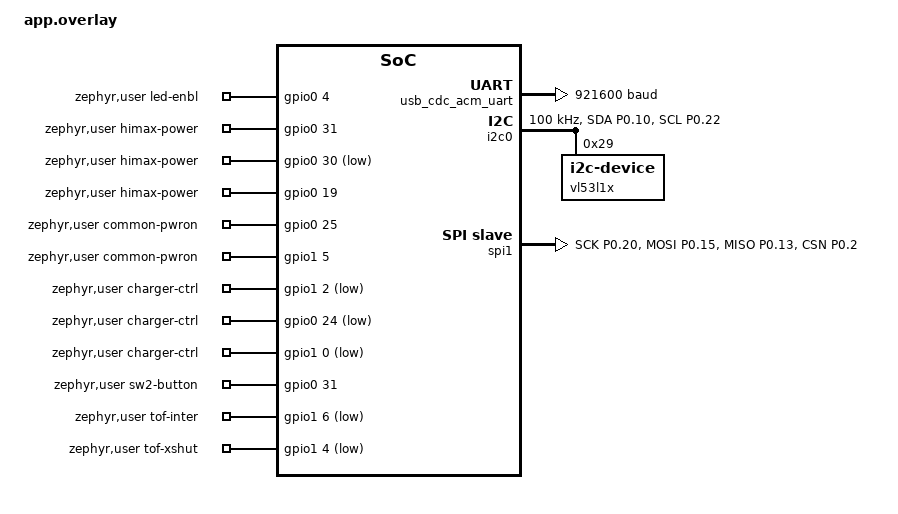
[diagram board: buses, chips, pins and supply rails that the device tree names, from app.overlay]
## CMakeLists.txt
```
cmake_minimum_required(VERSION 3.20.0)

add_definitions(-DNRF_SDK_BUILD)

list(APPEND BOARD_ROOT ${CMAKE_CURRENT_SOURCE_DIR})

set(CONF_FILE prj.conf)
set(DTC_OVERLAY_FILE app.overlay)

find_package(Zephyr REQUIRED HINTS $ENV{ZEPHYR_BASE})
project(gatebox)

list(APPEND mcuboot_CONF_FILE
  ${CMAKE_CURRENT_LIST_DIR}/child_image/mcuboot.conf
  ${ZEPHYR_BASE}/../bootloader/mcuboot/boot/zephyr/prj.conf            
)

list(APPEND mcuboot_DTC_OVERLAY_FILE
  ${CMAKE_CURRENT_LIST_DIR}/child_image/mcuboot.overlay
  ${ZEPHYR_BASE}/../bootloader/mcuboot/boot/zephyr/app.overlay          
)

target_include_directories(app PRIVATE
  src/
  src/obj_lists/
  src/cmd_dec/
  src/hm_ctrl
  src/pm_ctrl
  src/tof_sens
)

target_sources(app PRIVATE
  src/obj_lists/objects_validator.c
  src/obj_lists/list_expected_objects.c
  src/obj_lists/list_recognized_objects.c
  src/obj_lists/time_conv.c
  src/obj_lists/crc_proc.c
  src/cmd_dec/common_cmd.c
  src/cmd_dec/himax_cmd.c
  src/cmd_dec/list_expct_obj_cmd.c
  src/cmd_dec/list_recg_obj_cmd.c
  src/cmd_dec/date_time_cmd.c
  src/cmd_dec/tof_sensor_cmd.c
  src/cmd_dec/image_read_cmd.c
  src/cmd_dec/read_stat_cmd.c
  src/cmd_dec/batt_chrg_cmd.c
  src/cmd_dec/command_decoder.c
  src/hm_ctrl/himax_control.c
  src/hm_ctrl/himax_spi.c
  src/hm_ctrl/himax_spi_data_proc.c
  src/pm_ctrl/pwr_ctrl.c
  src/pm_ctrl/sys_reset.c
  src/tof_sens/tof_sensor_core.c
  src/tof_sens/tof_sensor_results.c
  src/amode_proc.c
  src/detect_handler.c
  src/bt_proc.c
  src/leds_ctrl.c
  src/image_proc.c
  src/acm_uart.c
  src/error_handler.c
  src/version.c
  src/button.c
  src/objdet_main.c
)

zephyr_library_include_directories(.)

set(VL53L1CB_PLAT_DIR ./drivers/VL53L1CB/platform)
set(VL53L1CB_CORE_DIR ./drivers/VL53L1CB/core)

target_include_directories(app PRIVATE 
  ${VL53L1CB_PLAT_DIR}/inc
  ${VL53L1CB_CORE_DIR}/inc
)

target_sources(app PRIVATE
  ${VL53L1CB_PLAT_DIR}/src/vl53l1_platform.c
  ${VL53L1CB_PLAT_DIR}/src/vl53l1_platform_ipp.c
  ${VL53L1CB_CORE_DIR}/src/vl53l1_api.c
  ${VL53L1CB_CORE_DIR}/src/vl53l1_api_calibration.c
  ${VL53L1CB_CORE_DIR}/src/vl53l1_api_core.c
  ${VL53L1CB_CORE_DIR}/src/vl53l1_api_debug.c
  ${VL53L1CB_CORE_DIR}/src/vl53l1_api_preset_modes.c
  ${VL53L1CB_CORE_DIR}/src/vl53l1_api_strings.c
  ${VL53L1CB_CORE_DIR}/src/vl53l1_core.c
  ${VL53L1CB_CORE_DIR}/src/vl53l1_core_support.c
  ${VL53L1CB_CORE_DIR}/src/vl53l1_dmax.c
  ${VL53L1CB_CORE_DIR}/src/vl53l1_error_strings.c
  ${VL53L1CB_CORE_DIR}/src/vl53l1_hist_algos_gen3.c
  ${VL53L1CB_CORE_DIR}/src/vl53l1_hist_algos_gen4.c
  ${VL53L1CB_CORE_DIR}/src/vl53l1_hist_char.c
  ${VL53L1CB_CORE_DIR}/src/vl53l1_hist_core.c
  ${VL53L1CB_CORE_DIR}/src/vl53l1_hist_funcs.c
  ${VL53L1CB_CORE_DIR}/src/vl53l1_nvm.c
  ${VL53L1CB_CORE_DIR}/src/vl53l1_nvm_debug.c
  ${VL53L1CB_CORE_DIR}/src/vl53l1_register_funcs.c
  ${VL53L1CB_CORE_DIR}/src/vl53l1_sigma_estimate.c
  ${VL53L1CB_CORE_DIR}/src/vl53l1_silicon_core.c
  ${VL53L1CB_CORE_DIR}/src/vl53l1_wait.c
  ${VL53L1CB_CORE_DIR}/src/vl53l1_xtalk.c
  ${VL53L1CB_CORE_DIR}/src/vl53l1_zone_presets.c
)
```

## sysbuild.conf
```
# SPDX-License-Identifier: Apache-2.0

# Add MCUboot
SB_CONFIG_BOOTLOADER_MCUBOOT=y
# Set MCUboot mode of operations to single application slot
SB_CONFIG_MCUBOOT_MODE_SINGLE_APP=y
```

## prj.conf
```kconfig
#
# SPDX-License-Identifier: Apache-2.0
#

CONFIG_UART_ASYNC_API=y
CONFIG_HEAP_MEM_POOL_SIZE=4096

CONFIG_BT=y
CONFIG_BT_PERIPHERAL=y
CONFIG_BT_DEVICE_NAME="GrcAllCam"
CONFIG_BT_MAX_CONN=1
CONFIG_BT_MAX_PAIRED=1

CONFIG_BT_NUS=y
CONFIG_BT_SETTINGS=y
CONFIG_FLASH=y
CONFIG_FLASH_PAGE_LAYOUT=y
CONFIG_FLASH_MAP=y
CONFIG_NVS=y
CONFIG_SETTINGS=y

CONFIG_MAIN_STACK_SIZE=1152
CONFIG_SYSTEM_WORKQUEUE_STACK_SIZE=2048

CONFIG_LOG=y
CONFIG_LOG_BUFFER_SIZE=2048
CONFIG_ASSERT=y

CONFIG_BT_USER_DATA_LEN_UPDATE=y
CONFIG_BT_L2CAP_TX_MTU=247
CONFIG_BT_BUF_ACL_TX_SIZE=251
CONFIG_BT_BUF_ACL_RX_SIZE=251
CONFIG_POSIX_CLOCK=y

CONFIG_DATE_TIME_NTP=n
CONFIG_DATE_TIME=y
CONFIG_SPI=y
CONFIG_SPI_SLAVE=y
CONFIG_SPI_ASYNC=y

CONFIG_EVENTS=y

CONFIG_USB_DEVICE_STACK=y

CONFIG_I2C=y
CONFIG_SENSOR=y
CONFIG_VL53L1X=n
CONFIG_LSM6DSL=n

CONFIG_POWEROFF=y
CONFIG_REBOOT=y
CONFIG_BT_SMP=y

CONFIG_LED_STRIP=y
CONFIG_BOOTLOADER_MCUBOOT=y
```

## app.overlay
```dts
/*
 * Copyright (c) 2025 Grovety Inc
 *
 * SPDX-License-Identifier: Apache-2.0
 */

&zephyr_udc0 {
	usb_cdc_acm_uart: cdc_acm_uart {
		compatible = "zephyr,cdc-acm-uart";
		current-speed = <921600>;
	};
};

&spi0 {
	status = "disabled";
};

&pinctrl {
	i2c_tof_default: i2c_tof_default {
		group1 {
			psels = <NRF_PSEL(TWIM_SDA, 0, 10)>, // P0.10
					<NRF_PSEL(TWIM_SCL, 0, 22)>; // P0.22
		};
	};
	i2c_tof_sleep: i2c_tof_sleep {
		group1 {
			psels = <NRF_PSEL(TWIM_SDA, 0, 10)>, // P0.10
					<NRF_PSEL(TWIM_SCL, 0, 22)>; // P0.22
			low-power-enable;
		};
	};
};

&i2c0 {
	compatible = "nordic,nrf-twim";
	status = "okay";
	clock-frequency = <I2C_BITRATE_STANDARD>;
	zephyr,concat-buf-size = <1024>;
	pinctrl-0 = <&i2c_tof_default>;
	pinctrl-1 = <&i2c_tof_sleep>;
	pinctrl-names = "default", "sleep";
	vl53l1x: vl53l1x@29 {
		compatible = "i2c-device";
		status = "okay";
		reg = <0x29>;
	};
};

&pinctrl {
	spi1_default: spi1_default {
		group1 {
			psels = <NRF_PSEL(SPIS_SCK, 0, 20)>,	// P0.20 - SPI_CLK(PB8)
					<NRF_PSEL(SPIS_MOSI, 0, 15)>,	// P0.15 - SPI_DO(PB7)
					<NRF_PSEL(SPIS_MISO, 0, 13)>,	// P0.13 - SPI_DI(PB6)
					<NRF_PSEL(SPIS_CSN, 0, 2)>;		// P0.02 - SEN_CSW0
		};
	};
	spi1_sleep: spi1_sleep {
		group1 {
			psels = <NRF_PSEL(SPIS_SCK, 0, 20)>,
					<NRF_PSEL(SPIS_MOSI, 0, 15)>,
					<NRF_PSEL(SPIS_MISO, 0, 13)>,
					<NRF_PSEL(SPIS_CSN, 0, 2)>;
			low-power-enable;
		};
	};
};

&spi1 {
	compatible = "nordic,nrf-spis";
	def-char = <0xFF>;
	status = "okay";
	pinctrl-0 = <&spi1_default>;
	pinctrl-1 = <&spi1_default>;
	pinctrl-names = "default", "sleep";
};

/ {
	zephyr,user {
		led-enbl-gpios = <&gpio0 4 GPIO_ACTIVE_HIGH>;			// P0.04 - rgb led enable
		himax-power-gpios = <&gpio0 31 GPIO_ACTIVE_HIGH>,		// Wakeup,PA1 Himax,open drain
					        <&gpio0 30 GPIO_ACTIVE_LOW>,		// nReset,no connected
		                    <&gpio0 19 GPIO_ACTIVE_HIGH>; 		// Power on, switch
		common-pwron-gpios = <&gpio0 25 GPIO_ACTIVE_HIGH>,		// U10,3v3,active high
							 <&gpio1 5 GPIO_ACTIVE_HIGH>;		// U12,1v8,active high
		charger-ctrl-gpios = <&gpio1 2 GPIO_ACTIVE_LOW>,		// P1.02 - BQCE,low level enable charger
							 <&gpio0 24 GPIO_ACTIVE_LOW>,		// P0.24 - BQCHG,low level when battery is charging
							 <&gpio1 0 GPIO_ACTIVE_LOW>;		// P1.0 - BQPGOOD,low level when input source is valid
		sw2-button-gpios = <&gpio0 31 GPIO_ACTIVE_HIGH>;		// P0.31 - SW2 button
		tof-inter-gpios = <&gpio1 6 GPIO_ACTIVE_LOW>;			// P1.06
		tof-xshut-gpios = <&gpio1 4 GPIO_ACTIVE_LOW>;			// P1.04
	};
};

/ {
	aliases {
		wake-up-pins-gpios = &gpio1;
	};
};

/ {
	chosen {
		zephyr,console = &uart1;
		nordic,shell = &usb_cdc_acm_uart;
		himax,spi = &spi1;
		tof,vl53l1x = &vl53l1x;
		led,strip = &led_strip;
	};
};
```

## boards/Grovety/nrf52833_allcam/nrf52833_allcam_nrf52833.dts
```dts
/*
 * Copyright (c) 2025 Grovety Inc
 *
 * SPDX-License-Identifier: Apache-2.0
 */

/dts-v1/;
#include <nordic/nrf52833_qiaa.dtsi>
#include <zephyr/dt-bindings/input/input-event-codes.h>

/ {
	model = "Grovety NRF52833 ALLCAM NRF52833";
	compatible = "nordic,nrf52833-dk-nrf52833";

	chosen {
		zephyr,sram = &sram0;
		zephyr,flash = &flash0_mcuboot;
		zephyr,code-partition = &slot0_partition;
	};
};

&reg1 {
	regulator-initial-mode = <NRF5X_REG_MODE_DCDC>;
};

&adc {
	status = "disabled";
};

&uicr {
	status = "disabled";
};

&gpiote {
	status = "okay";
};

&gpio0 {
	status = "okay";
};

&gpio1 {
	status = "okay";
};

&uart0 {
	status = "disabled";
};

&pinctrl {
	uart1_default: uart1_default {
		group1 {
			psels = <NRF_PSEL(UART_TX, 1, 1)>,
			        <NRF_PSEL(UART_RX, 0, 9)>;
		bias-pull-up;
	  };
	};
	uart1_sleep: uart1_sleep {
	  	group1 {
			psels = <NRF_PSEL(UART_TX, 1, 1)>,
			        <NRF_PSEL(UART_RX, 0, 9)>;
		low-power-enable;
	  	};
	};
};

&uart1 {
	status = "okay";
	current-speed = <115200>;
	pinctrl-0 = <&uart1_default>;
	pinctrl-1 = <&uart1_sleep>;
	pinctrl-names = "default", "sleep";
};

&i2c0 {
	compatible = "nordic,nrf-twi";
	status = "disabled";
};

&i2c1 {
	status = "disabled";
};

&pwm0 {
	status = "disabled";
};

&spi0 {
	status = "disabled";
};

&spi1 {
	status = "disabled";
};

&spi2 {
	status = "disabled";
};

/*flash0_default: &flash0 {
	partitions {
		compatible = "fixed-partitions";
		#address-cells = <1>;
		#size-cells = <1>;

		boot_partition: partition@0 {
			label = "mcuboot";
			reg = <0x00000000 0xC000>;
		};
		slot0_partition: partition@c000 {
			label = "image-0";
			reg = <0x0000C000 0x37000>;
		};
		slot1_partition: partition@43000 {
			label = "image-1";
			reg = <0x00043000 0x37000>;
		};
		storage_partition: partition@7a000 {
			label = "storage";
			reg = <0x0007A000 0x00006000>;
		};
	};
};*/

flash0_mcuboot: &flash0 {
	partitions {
		compatible = "fixed-partitions";
		#address-cells = <1>;
		#size-cells = <1>;

		boot_partition: partition@0 {
			label = "mcuboot";
			reg = <0x00000000 0x10000>;
		};
		slot0_partition: partition@10000 {
			label = "image-0";
			reg = <0x00010000 0x6A000>;
		};
		storage_partition: partition@7a000 {
			label = "storage";
			reg = <0x0007A000 0x00006000>;
		};
	};
};

zephyr_udc0: &usbd {
	compatible = "nordic,nrf-usbd";
	status = "okay";
};

&pinctrl {
	spi2_default: spi2_default {
		group1 {
			psels = <NRF_PSEL(SPIM_SCK, 0, 23)>, 		// dummy
					<NRF_PSEL(SPIM_MOSI, 0, 29)>, 		// stripe
					<NRF_PSEL(SPIM_MISO, 0, 28)>; 		// dummy

		};
	};
	spi2_sleep: spi2_sleep {
		group1 {
			psels = <NRF_PSEL(SPIM_SCK, 0, 23)>,
					<NRF_PSEL(SPIM_MOSI, 0, 29)>,
					<NRF_PSEL(SPIM_MISO, 0, 28)>;
			low-power-enable;
		};
	};
};

#include <zephyr/dt-bindings/led/led.h>

#define SPI_FREQ    4000000
#define ONE_FRAME   0x70
#define ZERO_FRAME  0x40

&spi2 {
	compatible = "nordic,nrf-spim";
	status = "okay";
	pinctrl-0 = <&spi2_default>;
	pinctrl-1 = <&spi2_sleep>;
	pinctrl-names = "default", "sleep";
	led_strip: ws2812@0 {
		compatible = "worldsemi,ws2812-spi";
		/* SPI */
		reg = <0>; /* ignored, but necessary for SPI bindings */
		spi-max-frequency = <SPI_FREQ>;
		/* WS2812 */
		chain-length = <1>; /* arbitrary; change at will */
		color-mapping = <LED_COLOR_ID_GREEN LED_COLOR_ID_RED LED_COLOR_ID_BLUE>;
		spi-one-frame = <ONE_FRAME>;
		spi-zero-frame = <ZERO_FRAME>;
	};
};
```

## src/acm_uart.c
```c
/*
 * Copyright (c) 2025 Grovety Inc
 *
 * SPDX-License-Identifier: Apache-2.0
 */

#include <zephyr/types.h>
#include <zephyr/kernel.h>
#include <zephyr/init.h>
#include <zephyr/logging/log.h>
#include <zephyr/drivers/uart.h>
#include <zephyr/usb/usb_device.h>

#include "acm_uart.h"
#include "lists_common_defs.h"

#define LOG_MODULE_NAME acm_uart
LOG_MODULE_REGISTER(LOG_MODULE_NAME);

#define ACM_UART_THREAD_STACKSIZE 1024
#define ACM_UART_THREAD_PRIORITY 4

static uart_data_proc_t uart_data_proc;

static void uart_data_handler_thread_proc();

static K_THREAD_DEFINE( uart_data_handler_thread_id, ACM_UART_THREAD_STACKSIZE,  uart_data_handler_thread_proc, NULL, NULL, NULL,
	ACM_UART_THREAD_PRIORITY, 0, 0);
static K_EVENT_DEFINE(command_is_ready_event);

static const struct device *uart_device = DEVICE_DT_GET(DT_CHOSEN(nordic_shell));

static uart_ctx_t uart_ctx;

static void direct_uart_callback(const struct device *uart_device, void *user_data)
{
	uart_ctx_t* p_uart_ctx = (uart_ctx_t*)user_data;

	uart_irq_update(uart_device);

#ifndef TX_WITH_POLLING
	if (uart_irq_tx_ready(uart_device)) {
		uart_irq_tx_disable(uart_device);
	}
#endif

	if (uart_irq_rx_ready(uart_device)) {
		uint8_t rx_char = 0;
		while (uart_fifo_read(uart_device, &rx_char, 1)) {
#ifdef SR_AT_CMD_ECHO
			(void)uart_fifo_fill(uart_device, &rx_char, 1);
#endif
			if (rx_char == '\r') { // bluetooth has '\n' but putty send '\r' instead
				rx_char = '\n';
			}
			p_uart_ctx->rx_buf[p_uart_ctx->is_read] = rx_char;
			p_uart_ctx->is_read = (p_uart_ctx->is_read + 1) % SR_OUT_BUF_SIZE;
			if (rx_char == '\n') {
				k_event_set(&command_is_ready_event, 0x001);
				break;
			}
		}
	}
}

void  uart_data_handler_thread_proc()
{
	while (1)
	{
		if (k_event_wait(&command_is_ready_event, 1, true, K_FOREVER))
		{
			k_sleep(K_MSEC(20));
			uart_ctx.rx_buf[uart_ctx.is_read] = 0;
			// LOG_HEXDUMP_INF(uart_ctx.rx_buf, 8, "Rx:");
			uart_ctx.to_write = uart_data_proc(USBUART_INTERFACE, uart_ctx.rx_buf, uart_ctx.is_read, uart_ctx.tx_buf, SR_OUT_BUF_SIZE);
			// LOG_HEXDUMP_INF(uart_ctx.tx_buf, 8, "Tx:");
			uart_ctx.is_read = 0;
			if (uart_ctx.to_write > 0) {
#ifndef TX_WITH_POLLING
				uart_irq_tx_enable(uart_device);
				(void)uart_fifo_fill(uart_device, uart_ctx.tx_buf, uart_ctx.to_write);
#else // TX_WITH_POLLING
				for(unsigned i = 0; i < uart_ctx.to_write; i++) {
					uart_poll_out(uart_device, uart_ctx.tx_buf[i]);
				}
#endif
			}
		}
	}
}

int acm_uart_init(uart_data_proc_t proc)
{
	if (!device_is_ready(uart_device)) {
		return -1;
	}

	if (!proc) {
		return -2;
	}

	uart_data_proc = proc;

	uart_irq_rx_disable(uart_device);

	int err = uart_irq_callback_user_data_set(uart_device, direct_uart_callback, &uart_ctx);

	uart_irq_rx_enable(uart_device);

    return err;
}
```

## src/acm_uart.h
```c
/*
 * Copyright (c) 2025 Grovety Inc
 *
 * SPDX-License-Identifier: Apache-2.0
 */

#ifndef ACM_UART_H
#define ACM_UART_H

#include "bt_proc.h"
#include "command_decoder.h"

#define SR_OUT_BUF_SIZE BT_OUT_BUF_SIZE

// #define SR_AT_CMD_ECHO
// #define TX_WITH_POLLING

typedef struct {
    int is_read;
    uint8_t rx_buf[SR_OUT_BUF_SIZE];
    int to_write;
    uint8_t tx_buf[SR_OUT_BUF_SIZE];
    bool is_command;
} uart_ctx_t;

typedef int (*uart_data_proc_t)(int if_num, const char* inp_buf, int inp_len, char* out_buf, int out_buf_size);

int acm_uart_init(uart_data_proc_t uart_data_proc);

#endif // ACM_UART_H
```

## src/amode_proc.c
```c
/*
 * Copyright (c) 2025 Grovety Inc
 *
 * SPDX-License-Identifier: Apache-2.0
 */

#include "amode_proc.h"
#include "himax_control.h"
#include "tof_sensor_core.h"
#include "leds_ctrl.h"
#include "pwr_ctrl.h"
#include "detect_handler.h"
#include "error_handler.h"
#include "mutex_wrapper.h"

#define LOG_MODULE_NAME amode_proc
LOG_MODULE_REGISTER(LOG_MODULE_NAME);

static void amode_timer_handler(struct k_timer *dummy);
static void amode_timer_work_proc(struct k_work *work);

static K_TIMER_DEFINE(amode_timer, amode_timer_handler, NULL);
static K_WORK_DEFINE(amode_timer_work, amode_timer_work_proc);

#define AMODE_THREAD_STACKSIZE 1024
#define AMODE_THREAD_PRIORITY 7

static void amode_thread_proc();

static K_THREAD_DEFINE(amode_thread_id, AMODE_THREAD_STACKSIZE, amode_thread_proc, NULL, NULL, NULL, AMODE_THREAD_PRIORITY, 0, 0);
static K_EVENT_DEFINE(amode_process_run_event);
static K_EVENT_DEFINE(amode_process_end_event);

K_MUTEX_DEF(amode_setup_mutex)

int amode_proc_init()
{
	K_MUTEX_INIT(amode_setup_mutex)
	return 0;
}

bool img_busy;

void amode_setup_for_image_read(bool start_or_finish)
{
	K_MUTEX_LOCK(amode_setup_mutex)
	img_busy = start_or_finish;
    tof_sensor_set_auto_mode(TOF_MODE_MEAS_DISTANCE_TIMER);
    himax_set_mode(HIMAX_MODE_CONT_WORK, start_or_finish ? HIMAX_ADV_READ_IMAGE : HIMAX_ADV_STOP_RDIMG);
	K_MUTEX_UNLOCK(amode_setup_mutex)
}

static void amode_setup_for_recognition()
{
	K_MUTEX_LOCK(amode_setup_mutex)
	if (!img_busy) { // do recognition and read image at the same time - read operation has priority
		tof_sensor_set_auto_mode(TOF_MODE_DISABLED_WHILE_RECOGN);
		himax_set_mode(HIMAX_MODE_CONT_WORK, HIMAX_ADV_DO_NOTHING);
	}
	K_MUTEX_UNLOCK(amode_setup_mutex)
}

static void amode_setup_for_is_target_waiting()
{ // procedure is called only when timer expired,it is protected by mutex inside the upper function
	himax_set_mode(HIMAX_POFF_MODE, HIMAX_ADV_DO_NOTHING);
	tof_sensor_set_auto_mode(TOF_MODE_AUTO_WAIT_FOR_OBJECTS);
}

static unsigned asleep_cntr;

static void amode_setup_for_not_target_waiting()
{ // waiting for car will leave,once again image read operartion has priority
	K_MUTEX_LOCK(amode_setup_mutex)
	if (!img_busy) { //
		himax_set_mode(HIMAX_POFF_MODE, HIMAX_ADV_DO_NOTHING);
		if (tof_sensor_get_mode() == TOF_MODE_DISABLED_WHILE_RECOGN) {
			tof_sensor_set_auto_mode(TOF_MODE_WAIT_UNTIL_OBJ_LEAVES);
		}
	}
	K_MUTEX_UNLOCK(amode_setup_mutex)
}

void amode_timer_cmd_recv_notify()
{
	K_MUTEX_LOCK(amode_setup_mutex)
	asleep_cntr = AUTO_MODE_TIMER_ASLEEP_PERIOD_SEC;
	k_timer_start(&amode_timer, K_MSEC(1000), K_MSEC(1000));
	K_MUTEX_UNLOCK(amode_setup_mutex)
}

void amode_timer_wakeup_notify()
{ // the same actions
	amode_timer_cmd_recv_notify();
}

static void amode_timer_handler(struct k_timer *dummy)
{
	k_work_submit(&amode_timer_work);
}

static void amode_timer_work_proc(struct k_work *work)
{
	K_MUTEX_LOCK(amode_setup_mutex)
	if (asleep_cntr == 1) {
		// LOG_INF("!!!asleep_cntr %d", asleep_cntr);
		if (!img_busy) {
			amode_setup_for_is_target_waiting();
		}
		else {
			asleep_cntr = AUTO_MODE_TIMER_ASLEEP_PERIOD_SEC;
		}
	}
	if (asleep_cntr > 0) {
		
		asleep_cntr -= 1;
	}
	//> LOG_INF("asleep_cntr %d,pwroff_cntr %d", asleep_cntr, pwroff_cntr);
	if (asleep_cntr == 0) {
		k_timer_stop(&amode_timer);
	}
	K_MUTEX_UNLOCK(amode_setup_mutex)
}

void amode_do_recognize()
{
    k_event_set(&amode_process_run_event, 1);
}

static atomic_t recgn_dummy_iter = ATOMIC_INIT(AMODE_MAX_RCGN_DUMMY_ITER);
static atomic_t recgn_found_iter = ATOMIC_INIT(0);

void amode_recognize_results_update(bool found, bool permission)
{
    if (atomic_get(&recgn_dummy_iter) < AMODE_MAX_RCGN_DUMMY_ITER)
    {
        atomic_inc(&recgn_dummy_iter);

        if (permission) {
            atomic_set(&recgn_dummy_iter, AMODE_MAX_RCGN_DUMMY_ITER);
			k_event_set(&amode_process_end_event, 1);
            detect_handler();
        }
        else {
            if (found) {
                if (atomic_get(&recgn_found_iter) < AMODE_MAX_RCGN_FOUND_ITER) {
                    atomic_inc(&recgn_found_iter);
                }
                else {
                    atomic_set(&recgn_dummy_iter, AMODE_MAX_RCGN_DUMMY_ITER);
					k_event_set(&amode_process_end_event, 2);
                }
            }
        }
    }
	if (atomic_get(&recgn_dummy_iter) >= AMODE_MAX_RCGN_DUMMY_ITER) {
		k_event_set(&amode_process_end_event, 4);
	}
	//if (k_event_test(&amode_process_end_event, 7)) {
    //	LOG_INF("(%d,%d): %ld,%ld", found, permission, atomic_get(&recgn_dummy_iter), atomic_get(&recgn_found_iter));
	//}
}

static void gbox_rcgn_proc()
{
	atomic_set(&recgn_found_iter, 0);
	atomic_set(&recgn_dummy_iter, 0);
	amode_setup_for_recognition();

	if (k_event_wait(&amode_process_end_event, 7, true, K_MSEC(AMODE_RECGN_TOUT_MSEC)) == false) {
		error_stack_add(ERR_RECOGN_TOUT);
		LOG_ERR("Recognition timeout");
	}
	amode_setup_for_not_target_waiting();
}

static void amode_thread_proc()
{
    while (1)
    {
        uint32_t event = k_event_wait(&amode_process_run_event, 7, false, K_FOREVER);
		if (event & 1) { // recognition
			gbox_rcgn_proc();
			k_event_clear(&amode_process_run_event, 1);
		}
	}
}
```

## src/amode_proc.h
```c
/*
 * Copyright (c) 2025 Grovety Inc
 *
 * SPDX-License-Identifier: Apache-2.0
 */

#ifndef AMODE_PROC_H
#define AMODE_PROC_H

#include <zephyr/kernel.h>
#include <zephyr/init.h>
#include <zephyr/logging/log.h>
#include <nrfx_timer.h>

#define AMODE_MAX_RCGN_DUMMY_ITER 10
#define AMODE_MAX_RCGN_FOUND_ITER 3
#define AMODE_RECGN_TOUT_MSEC 5000

#define AUTO_MODE_NRF_SYS_PWR_OFF
#define AUTO_MODE_TIMER_ASLEEP_PERIOD_SEC 20
#define AUTO_MODE_TIMER_PWROFF_PERIOD_SEC 20

int amode_proc_init();

void amode_timer_cmd_recv_notify();

void amode_timer_wakeup_notify();

void amode_recognize_results_update(bool found, bool permission);

void amode_do_recognize();

void amode_setup_for_image_read(bool start_or_finish);

#endif // AMODE_PROC_H
```

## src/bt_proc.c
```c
/*
 * Copyright (c) 2025 Grovety Inc
 *
 * SPDX-License-Identifier: Apache-2.0
 */

#include "bt_proc.h"

#include <zephyr/types.h>
#include <zephyr/kernel.h>
#include <zephyr/drivers/uart.h>
#include <zephyr/usb/usb_device.h>

#include <zephyr/device.h>
#include <zephyr/devicetree.h>
#include <soc.h>

#include <zephyr/bluetooth/bluetooth.h>
#include <zephyr/bluetooth/uuid.h>
#include <zephyr/bluetooth/gatt.h>
#include <zephyr/bluetooth/hci.h>
#include <zephyr/settings/settings.h>
#include <zephyr/logging/log.h>
#include <bluetooth/services/nus.h>

#include "lists_common_defs.h"
#include "himax_control.h"

#define LOG_MODULE_NAME bt_proc
LOG_MODULE_REGISTER(LOG_MODULE_NAME);

#define DEVICE_NAME CONFIG_BT_DEVICE_NAME
#define DEVICE_NAME_LEN	(sizeof(DEVICE_NAME) - 1)

static struct bt_conn *current_conn;
static struct bt_conn *auth_conn;

struct k_mutex send_mutex;
static bt_data_proc_t bt_data_proc;

static const struct bt_data ad[] = {
	BT_DATA_BYTES(BT_DATA_FLAGS, (BT_LE_AD_GENERAL | BT_LE_AD_NO_BREDR)),
	BT_DATA(BT_DATA_NAME_COMPLETE, DEVICE_NAME, DEVICE_NAME_LEN),
};

static const struct bt_data sd[] = {
	BT_DATA_BYTES(BT_DATA_UUID128_ALL, BT_UUID_NUS_VAL),
};

static void connected(struct bt_conn *conn, uint8_t err)
{
	char addr[BT_ADDR_LE_STR_LEN];

	if (err) {
		LOG_ERR("Connection failed (err %u)", err);
		return;
	}

	bt_addr_le_to_str(bt_conn_get_dst(conn), addr, sizeof(addr));
	LOG_INF("Connected %s", addr);

	current_conn = bt_conn_ref(conn);
}

static void disconnected(struct bt_conn *conn, uint8_t reason)
{
	char addr[BT_ADDR_LE_STR_LEN];

	bt_addr_le_to_str(bt_conn_get_dst(conn), addr, sizeof(addr));

	LOG_INF("Disconnected: %s (reason %u)", addr, reason);

	if (auth_conn) {
		bt_conn_unref(auth_conn);
		auth_conn = NULL;
	}

	if (current_conn) {
		bt_conn_unref(current_conn);
		current_conn = NULL;
	}
}

static void security_changed(struct bt_conn *conn, bt_security_t level,
			     enum bt_security_err err)
{
	char addr[BT_ADDR_LE_STR_LEN];

	bt_addr_le_to_str(bt_conn_get_dst(conn), addr, sizeof(addr));

	if (!err) {
		LOG_INF("Security changed: %s level %u", addr, level);
	} else {
		LOG_WRN("Security failed: %s level %u err %d", addr,
			level, err);
	}
}

BT_CONN_CB_DEFINE(conn_callbacks) = {
	.connected    = connected,
	.disconnected = disconnected,
	.security_changed = security_changed,
};

static void auth_passkey_display(struct bt_conn *conn, unsigned int passkey)
{
	char addr[BT_ADDR_LE_STR_LEN];

	bt_addr_le_to_str(bt_conn_get_dst(conn), addr, sizeof(addr));

	LOG_INF("Passkey for %s: %06u", addr, passkey);
}

static void auth_passkey_confirm(struct bt_conn *conn, unsigned int passkey)
{
	char addr[BT_ADDR_LE_STR_LEN];

	auth_conn = bt_conn_ref(conn);

	bt_addr_le_to_str(bt_conn_get_dst(conn), addr, sizeof(addr));

	LOG_INF("Passkey for %s: %06u", addr, passkey);
	LOG_INF("Press Button 1 to confirm, Button 2 to reject.");
// just to say "okay"
	bt_conn_auth_passkey_confirm(auth_conn);
// or.perhaps, to refuse
//	bt_conn_auth_cancel(auth_conn);
}

static void auth_cancel(struct bt_conn *conn)
{
	char addr[BT_ADDR_LE_STR_LEN];

	bt_addr_le_to_str(bt_conn_get_dst(conn), addr, sizeof(addr));

	//// LOG_INF("Pairing cancelled: %s", addr);
}

static void pairing_complete(struct bt_conn *conn, bool bonded)
{
	char addr[BT_ADDR_LE_STR_LEN];

	bt_addr_le_to_str(bt_conn_get_dst(conn), addr, sizeof(addr));

	//// LOG_INF("Pairing completed: %s, bonded: %d", addr, bonded);
}

static void pairing_failed(struct bt_conn *conn, enum bt_security_err reason)
{
	char addr[BT_ADDR_LE_STR_LEN];

	bt_addr_le_to_str(bt_conn_get_dst(conn), addr, sizeof(addr));

	//// LOG_INF("Pairing failed conn: %s, reason %d", addr, reason);
}

static struct bt_conn_auth_cb conn_auth_callbacks = {
	.passkey_display = auth_passkey_display,
	.passkey_confirm = auth_passkey_confirm,
	.cancel = auth_cancel,
};

static struct bt_conn_auth_info_cb conn_auth_info_callbacks = {
	.pairing_complete = pairing_complete,
	.pairing_failed = pairing_failed
};

static int bt_send_prot(struct bt_conn *conn, const uint8_t *data, uint16_t len)
{
	k_mutex_lock(&send_mutex, K_FOREVER);
	int err = bt_nus_send(conn, data, len);
	k_mutex_unlock(&send_mutex);
	return err;
}

static void bt_receive_cb(struct bt_conn *conn, const uint8_t *const inp_data,
			  uint16_t inp_len)
{
	int err = 0;
	char addr[BT_ADDR_LE_STR_LEN] = {0};

	bt_addr_le_to_str(bt_conn_get_dst(conn), addr, ARRAY_SIZE(addr));

	//// LOG_INF("Maximal MTU length %d", bt_gatt_get_mtu(conn));

	static uint8_t out_data [BT_OUT_BUF_SIZE];
	// LOG_HEXDUMP_INF(inp_data, 8, "Rx:");
	int out_len = bt_data_proc(BLUETOOTH_INTERFACE, inp_data, inp_len, out_data, BT_OUT_BUF_SIZE);
	// LOG_HEXDUMP_INF(out_data, 8, "Tx:");
	if (out_len > 0) {
		err = bt_send_prot(conn, out_data, out_len);
	}

	if (err) {
		LOG_ERR("Cannot send data (err: %d)", err);
	}
}

void bt_sent_cb(struct bt_conn *conn)
{
	char addr[BT_ADDR_LE_STR_LEN] = {0};

	bt_addr_le_to_str(bt_conn_get_dst(conn), addr, ARRAY_SIZE(addr));

	//// LOG_INF("Transmitted data sent to: %s", addr);
}

static struct bt_nus_cb nus_cb = {
	.received = bt_receive_cb,
	.sent = bt_sent_cb
};

int bt_init(bt_data_proc_t proc)
{
    int err;

    bt_data_proc = proc;

    err = bt_conn_auth_cb_register(&conn_auth_callbacks);
	if (err) {
		printk("Failed to register authorization callbacks.\n");
		return err;
	}

	err = bt_conn_auth_info_cb_register(&conn_auth_info_callbacks);
	if (err) {
		printk("Failed to register authorization info callbacks.\n");
		return err;
	}

	err = bt_enable(NULL);
	if (err) {
		printk("Bluetooth enable failed.\n");
		return err;
	}

	LOG_INF("Bluetooth initialized");

	if (IS_ENABLED(CONFIG_SETTINGS)) {
		settings_load();
	}

	err = bt_nus_init(&nus_cb);
	if (err) {
		LOG_ERR("Failed to initialize UART service (err: %d)", err);
		return err;
	}

	err = bt_le_adv_start(BT_LE_ADV_CONN, ad, ARRAY_SIZE(ad), sd,
			      ARRAY_SIZE(sd));
	if (err) {
		LOG_ERR("Advertising failed to start (err %d)", err);
		return err;
	}

    return 0;
}
```

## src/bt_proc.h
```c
/*
 * Copyright (c) 2025 Grovety Inc
 *
 * SPDX-License-Identifier: Apache-2.0
 */

#ifndef BT_PROC_H
#define BT_PROC_H

#define BT_OUT_BUF_SIZE (247-3) // set to MTU size

typedef int (*bt_data_proc_t)(int if_num, const char* inp_buf, int inp_len, char* out_buf, int out_buf_size);

int bt_init(bt_data_proc_t proc);

#endif // BT_PROC_H
```

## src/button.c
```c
/*
 * Copyright (c) 2025 Grovety Inc
 *
 * SPDX-License-Identifier: Apache-2.0
 */

#include <zephyr/types.h>
#include <zephyr/kernel.h>
#include <zephyr/logging/log.h>
#include <zephyr/drivers/gpio.h>
#include <zephyr/sys/reboot.h>
#include <zephyr/device.h>
#include <zephyr/devicetree.h>
#include "button.h"
#include "himax_control.h"

#ifdef SW2_BUTTON_USED

LOG_MODULE_REGISTER(button);

#define SW2_BUTTON_CONTROL DT_PATH(zephyr_user)
static const struct gpio_dt_spec sw2_button_pin = GPIO_DT_SPEC_GET(SW2_BUTTON_CONTROL, sw2_button_gpios);
static const struct gpio_dt_spec himax_pwron_pin = GPIO_DT_SPEC_GET_BY_IDX(DT_PATH(zephyr_user), himax_power_gpios, 2);
static struct gpio_callback button_cb_data;

static button_event_handler_t ext_handler;

static void button_event_callback_handler(const struct device *port, struct gpio_callback *cb, gpio_port_pins_t pins)
{
    LOG_INF("button_event_callback_handler");
    if (ext_handler) {
        ext_handler();
    }
    else {
        gpio_pin_set_dt(&himax_pwron_pin, 1);
    }
}

int button_sw2_init(button_event_handler_t handler)
{
    if (!gpio_is_ready_dt(&sw2_button_pin)) {
        LOG_ERR("SW2 strip device is not ready");
		return -1;
	}

    ext_handler = handler;

    gpio_pin_configure_dt(&sw2_button_pin, GPIO_INPUT);
    gpio_pin_interrupt_configure_dt(&sw2_button_pin, GPIO_INT_EDGE_FALLING);
	gpio_init_callback(&button_cb_data, button_event_callback_handler, BIT(sw2_button_pin.pin));
	gpio_add_callback(sw2_button_pin.port, &button_cb_data);
    return 0;
}

#endif // SW2_BUTTON_USED
```

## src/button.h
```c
/*
 * Copyright (c) 2025 Grovety Inc
 *
 * SPDX-License-Identifier: Apache-2.0
 */

#ifndef BUTTON_H
#define BUTTON_H

#include "himax_control.h"

// #define SW2_BUTTON_USED

#ifdef SW2_BUTTON_USED
    #if HIMAX_INIT_MODE == HIMAX_MODE_POWER_DOWN || \
        HIMAX_POFF_MODE == HIMAX_MODE_POWER_DOWN || \
        HIMAX_INIT_MODE == HIMAX_MODE_DPOWER_DOWN || \
        HIMAX_POFF_MODE == HIMAX_MODE_DPOWER_DOWN
            #error The button wire is shared with Himax wake-up pin!
    #endif

typedef void (*button_event_handler_t)(void);

int button_sw2_init(button_event_handler_t handler);

#endif // SW2_BUTTON_USED

#endif // BUTTON_H
```

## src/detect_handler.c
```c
/*
 * Copyright (c) 2025 Grovety Inc
 *
 * SPDX-License-Identifier: Apache-2.0
 */

#include <zephyr/types.h>
#include <zephyr/kernel.h>
#include <zephyr/logging/log.h>
#include <zephyr/drivers/gpio.h>

#include "detect_handler.h"
#include "leds_ctrl.h"

#define LOG_MODULE_NAME detect_handler
LOG_MODULE_REGISTER(LOG_MODULE_NAME);

#define DETECT_HANDLER_THREAD_STACKSIZE 512
#define DETECT_HANDLER_THREAD_PRIORITY 7

static void detect_handler_thread_proc();

static K_THREAD_DEFINE(detect_handler_thread_id, DETECT_HANDLER_THREAD_STACKSIZE, detect_handler_thread_proc, NULL, NULL, NULL,
		DETECT_HANDLER_THREAD_PRIORITY, 0, 0);
static K_EVENT_DEFINE(detect_handler_start_event);

static void detect_handler_thread_proc()
{
    while (1) {
        if (k_event_wait(&detect_handler_start_event, 1, true, K_FOREVER)) {
            LOG_INF("!!!! EXPECTED OBJECT DETECTED !!!!");
            for (unsigned i = 0; i < 10; i++) {
                led_green_ctrl((i & 1) ? LED_OFF : LED_ON);
                k_sleep(K_MSEC(300));
            }
        }
    }
}

void detect_handler()
{
    k_event_set(&detect_handler_start_event, 1);
}
```

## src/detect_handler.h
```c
/*
 * Copyright (c) 2025 Grovety Inc
 *
 * SPDX-License-Identifier: Apache-2.0
 */

#ifndef DETECT_HANDLER_H
#define DETECT_HANDLER_H

void detect_handler();

#endif // DETECT_HANDLER_H
```

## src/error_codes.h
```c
/*
 * Copyright (c) 2025 Grovety Inc
 *
 * SPDX-License-Identifier: Apache-2.0
 */

#ifndef ERROR_CODES_H
#define ERROR_CODES_H

#define ERR_ERR_NOT 0
#define ERR_IMG_BAD_SEQ0 -1
#define ERR_IMG_BAD_SEQ1 -2
#define ERR_IMG_BAD_SIZE -3
#define ERR_LPOBJ_CHKSUM -4
#define ERR_LROBJ_CHKSUM -5
#define ERR_RECOGN_TOUT -6
#define ERR_SPI_BAD_OPCODE -7

#endif // ERROR_CODES_H
```

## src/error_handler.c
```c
/*
 * Copyright (c) 2025 Grovety Inc
 *
 * SPDX-License-Identifier: Apache-2.0
 */

#include <stdbool.h>
#include <stdio.h>

#include <zephyr/types.h>
#include <zephyr/kernel.h>
#include <zephyr/init.h>
#include <zephyr/logging/log.h>

#include "mutex_wrapper.h"
#include "error_handler.h"

#define LOG_MODULE_NAME error_handler
LOG_MODULE_REGISTER(LOG_MODULE_NAME);

K_MUTEX_DEF(error_stack_mutex)

static error_stack_t error_stack;

#define IDX_MASK ((1<<ERR_STACK_BIT_SHIFT)-1)
#define CMP_MASK ((1<<(ERR_STACK_BIT_SHIFT+1))-1)
#define ERROR_STACK_INDEX(IDX) ((IDX) & IDX_MASK)
#define ERROR_STACK_COMP(IDX) ((IDX) & CMP_MASK)
#define ERROR_STACK_EMPTY (ERROR_STACK_COMP(error_stack.widx) == ERROR_STACK_COMP(error_stack.ridx))
#define ERROR_STACK_FULL (ERROR_STACK_COMP(error_stack.widx) == (ERROR_STACK_COMP(error_stack.ridx) ^ (1<<ERR_STACK_BIT_SHIFT)))

void error_stack_init()
{
	K_MUTEX_INIT(error_stack_mutex)
	memset(&error_stack, 0, sizeof(error_stack_t));
	//!!! for (int i = -1; i > -9; i--) error_stack_add(i);
}

bool error_stack_add(int8_t code)
{
	bool ret = true;
	K_MUTEX_LOCK(error_stack_mutex)
	if (ERROR_STACK_FULL) {
		ret = false;
		goto exit;
	}
	unsigned idx = ERROR_STACK_INDEX(error_stack.widx - 1);
	if (error_stack.code[idx] == code) {
		ret = false;
		goto exit;
	}
	idx = ERROR_STACK_INDEX(error_stack.widx);
	error_stack.code[idx] = code;
	error_stack.widx = ERROR_STACK_COMP(error_stack.widx + 1);
exit:
	K_MUTEX_UNLOCK(error_stack_mutex)
	return ret;
}

int8_t error_stack_get()
{
	int ret = 0;
	K_MUTEX_LOCK(error_stack_mutex)
	if (ERROR_STACK_EMPTY)
	{
		goto exit;
	}
	ret = error_stack.code[ERROR_STACK_INDEX(error_stack.ridx)];
	error_stack.code[ERROR_STACK_INDEX(error_stack.ridx)] = 0;
	error_stack.ridx = ERROR_STACK_COMP(error_stack.ridx + 1);
exit:
	K_MUTEX_UNLOCK(error_stack_mutex)
	return ret;
}

void error_stack_print()
{
	K_MUTEX_LOCK(error_stack_mutex)
	for (unsigned i = 0; i < MAX_ERR_CODE_NUM; i++)
	{
		LOG_INF("%d,", error_stack.code[i]);
	}
	LOG_INF("\n");
	K_MUTEX_UNLOCK(error_stack_mutex)
}
```
